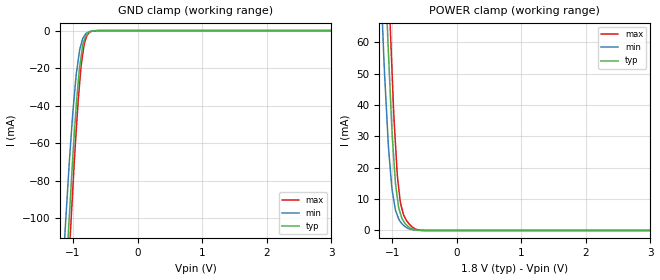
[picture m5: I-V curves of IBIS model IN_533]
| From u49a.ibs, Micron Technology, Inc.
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|   MODEL IN_533
[Model]   IN_533
Model_type   Input
Vinl = 650.000mV
Vinh = 1.150V
|   typ   min   max
C_comp   1.379pF   1.179pF   1.580pF
[Model Spec]
| Input threshold voltage corners
Vinl   0.650V   0.600V   0.700V
Vinh   1.150V   1.100V   1.200V
[Receiver Thresholds]
Vth   =  0.900V
Vth_min  =  0.882V
Vth_max  =  0.918V
Vinh_ac  =  0.250V
Vinh_dc  =  0.125V
Vinl_ac  = -0.250V
Vinl_dc  = -0.125V
Tslew_ac =  5.000ns |Not specified, so set to high value
Threshold_sensitivity = 0.50
Reference_supply Pullup_ref
[Voltage Range]   1.800V   1.700V   1.900V
[Pullup Reference]   1.800V   1.700V   1.900V
| Junction Temperature (Ambient temp is 25C typ, 85C min, 0C max)
[Temperature Range]   40.0   100.0   0.0
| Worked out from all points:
|   GND clamp passes 1 mA (typ) near -0.76 V on its own axis
|   POWER clamp passes 1 mA (typ) near -0.74 V on its own axis
[GND Clamp]
|   Voltage   I(typ)   I(min)   I(max)
-1.8V     -627.2mA   -569mA     -668.7mA
-1.13V    -144.8mA   -110.5mA   -167.6mA
-1.12V    -138.3mA   -104.7mA   -160.6mA
-1.07V    -106.1mA   -76.52mA   -126.7mA
-1.04V    -88.38mA   -61.14mA   -106.7mA
-1V       -64.96mA   -42.14mA   -81.84mA
-950mV    -39.46mA   -23.02mA   -52.89mA
-900mV    -19.69mA   -10.82mA   -28.8mA
-880mV    -14.93mA   -7.905mA   -20.6mA
-830mV    -5.507mA   -3.148mA   -7.745mA
-760mV    -967.5uA   -714.4uA   -1.537mA
3.6V      0A         0A         0A
[POWER Clamp]
|   Voltage   I(typ)   I(min)   I(max)
-1.8V     559mA      490.4mA    604.5mA
-1.15V    107mA      65.19mA    136.9mA
-1.08V    67.27mA    34.71mA    93.03mA
-1.07V    61.67mA    30.78mA    87.01mA
-1.04V    47.95mA    21.93mA    69.42mA
-1V       30.12mA    12.66mA    49.04mA
-950mV    15mA       6.452mA    27.53mA
-920mV    10.24mA    4.783mA    17.23mA
-870mV    5.171mA    2.698mA    8.513mA
-790mV    1.979mA    1.077mA    3.6mA
-520mV    11.72uA    9.301uA    23.98uA
3.6V      0A         0A         0A
